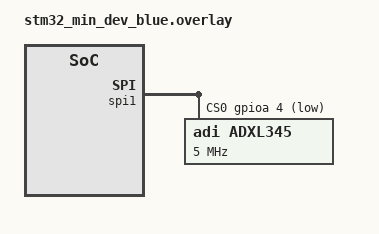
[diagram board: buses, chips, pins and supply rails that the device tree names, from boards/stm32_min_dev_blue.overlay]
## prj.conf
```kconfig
# Comunicação

## UART
CONFIG_SERIAL=y # Receber dados do GPS e enviar pro GPRS
CONFIG_UART_ASYNC_API=n # Receber dados de forma assícrona usando Direct Memory Access (DMA)
CONFIG_SPI=y
CONFIG_ADXL345=y
CONFIG_SENSOR=y

## CAN
#TODO

# GPIO
CONFIG_GPIO=y # Ativar o controle dos pinos input e output

# Logging
CONFIG_LOG=y # Log de debug (UART 1)

# 0: nada
# 1: erro
# 2: warning
# 3: info
# 4: debug
CONFIG_LOG_DEFAULT_LEVEL=3

# Para printar float
CONFIG_CBPRINTF_FP_SUPPORT=y
```

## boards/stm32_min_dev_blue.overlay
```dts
&spi1 {
  status = "okay";
  cs-gpios = <&gpioa 4 GPIO_ACTIVE_LOW>;

  adxl345: adxl345@0 {
          compatible = "adi,adxl345";
          reg = <0>;
          status = "okay";

          spi-max-frequency = <5000000>;
  };
};
```

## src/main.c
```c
#include "zephyr/device.h"
#include "zephyr/drivers/sensor.h"
#include <zephyr/logging/log.h>
#include <zephyr/kernel.h>
#include <zephyr/logging/log_ctrl.h>
#include "adxl345.h"
 
LOG_MODULE_REGISTER();
  
int main(){
    double data[3];
    adxl345_init();
    while(1){
        k_msleep(1000);
        if(adxl345_read_acceleration(data)){
            LOG_ERR("Não foi possível ler os dados do acelerômetro");
            continue;
        }

        LOG_INF("Xa: %f m/s²\nYa: %f m/s²\nZa: %f m/s²\n", data[0], data[1], data[2]);
    
        adxl345_read_speed(data);
        LOG_INF("Xv: %f m/s\nYv: %f m/s\nZv: %f m/s\n", data[0], data[1], data[2]);

    }
}
```

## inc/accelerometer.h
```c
#include "adxl345.h"

int iniciar_accel();

int ler_accel(int *data);
```

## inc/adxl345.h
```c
#ifndef ADXL345_H
#define ADXL345_H

/**
 * @file
 * @brief Biblioteca para comunicação com o acelerômetro ADXL345.
 *
 * Este arquivo contém as definições e funções necessárias para inicializar 
 * e ler dados do acelerômetro ADXL345 de acordo com as necessidades da equipe
 * UNICAMP Baja SAE
 *
 * @author Lucas Mendonça
 */

/**
 * @brief Inicializa as variáveis utilizadas pelas funções do acelerômetro e
 * configura o timer de leitura dos dados.
 * 
 */
void adxl345_init();

/**
 * @brief Lê as acelerações nas direções x, y e z do acelerômetro e registra
 * esses valores (nessa ordem) no vetor readings.
 * 
 * @param readings Vetor de tamanho 3 onde serão escritas as leituras de aceleração do acelerômetro
 * @return 
 * - `0`: caso a leitura seja bem-sucedida 
 * - `< 0`: leitura mal-sucedida
 */
int adxl345_read_acceleration(double readings[3]);

/**
 * @brief Fornece a velocidade do acelerômetro. Para obter a velocidade,
 * presume-se que a velocidade inicial (no momento em que a função adxl345_init
 * é chamada) é 0 e então a aceleração é lida periodicamente. A partir disso, determinamos
 * as variações da velocidade ao longo do tempo.
 * 
 * @param readings Vetor de tamanho 3 onde serão escritas as velocidades calculadas das direções x, y e z, nesta ordem
 */
void adxl345_read_speed(double readings[3]);

#endif
```

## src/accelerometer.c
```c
#include "accelerometer.h"

static const struct device *adxl345 = DEVICE_DT_GET(DT_NODELABEL(i2c1));

int iniciar_accel(){
    return adxl345_init(adxl345);
}

int ler_accel(double data[3]){
    int ret;

    struct adxl345_sample *sample;
    struct sensor_value *val;

    ret = adxl345_read_sample(adxl345, sample);
    if(ret) return ret;

    adxl345_accel_convert(val, sample->x);
    data[0] = val->val1 + val->val2/1000000;

    adxl345_accel_convert(val, sample->y);
    data[1] = val->val1 + val->val2/1000000;

    adxl345_accel_convert(val, sample->z);
    data[2] = val->val1 + val->val2/1000000;

    return 0;
}
```

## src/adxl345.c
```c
#include "zephyr/device.h"
#include "zephyr/drivers/sensor.h"
#include <zephyr/logging/log.h>
#include <zephyr/kernel.h>
#include <zephyr/logging/log_ctrl.h>
#include <zephyr/timing/timing.h>
#include "adxl345.h"

LOG_MODULE_REGISTER(Acelerômetro);

#define PERIODO_VELOCIDADE K_MSEC(1)
#define PERIODO_VELOCIDADE_SEGUNDOS 0.001

static double last_readings[3];
static double velocidade[3];
static double aceleracao[3];
static const struct device *accel = DEVICE_DT_GET(DT_NODELABEL(adxl345));
static struct k_timer timer_accel;

static void timer_callback(struct k_timer *timer){
    double readings[3], acc_delta;
    adxl345_read_acceleration(readings);

    for(int i = 0; i < 3; i++){
        acc_delta = readings[i] - last_readings[i];
        aceleracao[i] += acc_delta;
        velocidade[i] += aceleracao[i] * PERIODO_VELOCIDADE_SEGUNDOS;
        last_readings[i] = readings[i];
    }

    // if(velocidade[0] != 0 || velocidade[1] != 0 || velocidade[2] != 0){
    //     // LOG_INF("\nlast readings:\nXa: %f m/s\nYa: %f m/s\nZa: %f m/s\n", last_readings[0], last_readings[1], last_readings[2]);
    //     // LOG_INF("\nreadings:\nXa: %f m/s\nYa: %f m/s\nZa: %f m/s\n", readings[0], readings[1], readings[2]);
    //     LOG_INF("Xv: %f m/s\nYv: %f m/s\nZv: %f m/s\n", velocidade[0], velocidade[1], velocidade[2]);
    // }

    k_timer_start(&timer_accel, PERIODO_VELOCIDADE, K_NO_WAIT);
}

void adxl345_init(){
    adxl345_read_acceleration(last_readings);

    for(int i = 0; i < 3; i++){
        velocidade[i] = 0;
        aceleracao[i] = 0;
    }

    k_timer_init(&timer_accel, timer_callback, NULL);
    k_timer_start(&timer_accel, PERIODO_VELOCIDADE, K_NO_WAIT);
}

int adxl345_read_acceleration(double readings[3]){
    if(!device_is_ready(accel)){
        LOG_ERR("O dispositivo não está pronto.");
        return -1;
    }

    struct sensor_value val[3];
    // antes de ler os dados do sensor é preciso dar fetch
    if(sensor_sample_fetch(accel)){
        LOG_ERR("Erro ao ler a aceleração.");
        return -2;
    }
    if(sensor_channel_get(accel, SENSOR_CHAN_ACCEL_XYZ, val)){
        LOG_ERR("Erro ao ler a aceleração.");
        return -3;
    }
    
    readings[0] = val[0].val1 + ((double)val[0].val2)/1000000;
    readings[1] = val[1].val1 + ((double)val[1].val2)/1000000;
    readings[2] = val[2].val1 + ((double)val[2].val2)/1000000;

    return 0;
}

void adxl345_read_speed(double readings[3]){
    readings[0] = velocidade[0];
    readings[1] = velocidade[1];
    readings[2] = velocidade[2];
}
```
